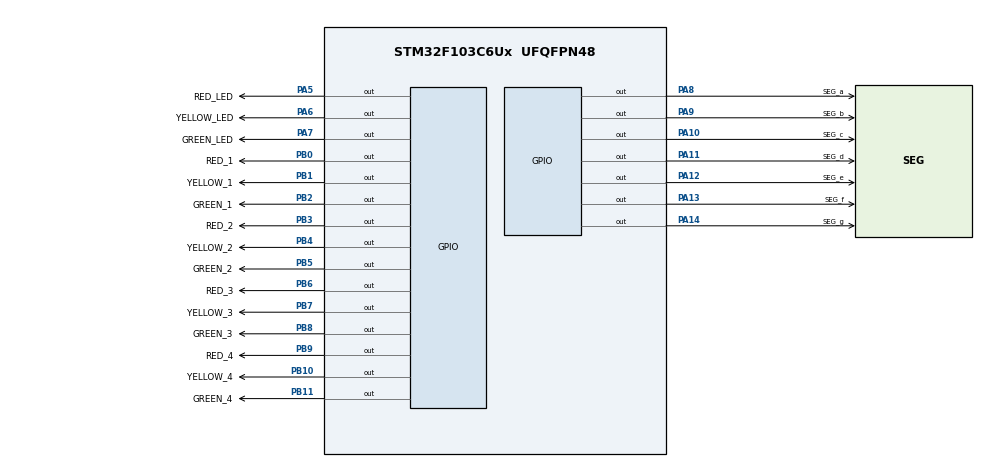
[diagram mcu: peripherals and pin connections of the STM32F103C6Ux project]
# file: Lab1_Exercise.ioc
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Mcu.Family=STM32F1
Mcu.Name=STM32F103C6Ux
Mcu.Package=UFQFPN48
NVIC.PriorityGroup=NVIC_PRIORITYGROUP_4
PA10.GPIO_Label=SEG_c
PA10.Signal=GPIO_Output
PA11.GPIO_Label=SEG_d
PA11.Signal=GPIO_Output
PA12.GPIO_Label=SEG_e
PA12.Signal=GPIO_Output
PA13.GPIO_Label=SEG_f
PA13.Signal=GPIO_Output
PA14.GPIO_Label=SEG_g
PA14.Signal=GPIO_Output
PA5.GPIO_Label=RED_LED
PA5.Signal=GPIO_Output
PA6.GPIO_Label=YELLOW_LED
PA6.Signal=GPIO_Output
PA7.GPIO_Label=GREEN_LED
PA7.Signal=GPIO_Output
PA8.GPIO_Label=SEG_a
PA8.Signal=GPIO_Output
PA9.GPIO_Label=SEG_b
PA9.Signal=GPIO_Output
PB0.GPIO_Label=RED_1
PB0.Signal=GPIO_Output
PB1.GPIO_Label=YELLOW_1
PB1.Signal=GPIO_Output
PB10.GPIO_Label=YELLOW_4
PB10.Signal=GPIO_Output
PB11.GPIO_Label=GREEN_4
PB11.Signal=GPIO_Output
PB2.GPIO_Label=GREEN_1
PB2.Signal=GPIO_Output
PB3.GPIO_Label=RED_2
PB3.Signal=GPIO_Output
PB4.GPIO_Label=YELLOW_2
PB4.Signal=GPIO_Output
PB5.GPIO_Label=GREEN_2
PB5.Signal=GPIO_Output
PB6.GPIO_Label=RED_3
PB6.Signal=GPIO_Output
PB7.GPIO_Label=YELLOW_3
PB7.Signal=GPIO_Output
PB8.GPIO_Label=GREEN_3
PB8.Signal=GPIO_Output
PB9.GPIO_Label=RED_4
PB9.Signal=GPIO_Output
ProjectManager.HeapSize=0x200
ProjectManager.StackSize=0x400
ProjectManager.TargetToolchain=STM32CubeIDE
RCC.APB1Freq_Value=8000000
RCC.APB2Freq_Value=8000000
VP_SYS_VS_ND.Mode=No_Debug
board=custom

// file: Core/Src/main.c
/* USER CODE BEGIN Header */
/**
  ******************************************************************************
  * @file           : main.c
  * @brief          : Main program body
  ******************************************************************************
  * @attention
  *
  * <h2><center>&copy; Copyright (c) 2024 STMicroelectronics.
  * All rights reserved.</center></h2>
  *
  * This software component is licensed by ST under BSD 3-Clause license,
  * the "License"; You may not use this file except in compliance with the
  * License. You may obtain a copy of the License at:
  *                        opensource.org/licenses/BSD-3-Clause
  *
  ******************************************************************************
  */
/* USER CODE END Header */
#include "main.h"

void SystemClock_Config(void);
static void MX_GPIO_Init(void);

int main(void)
{
  /* USER CODE BEGIN 1 */
	/*
	void display7SEG(int num) {
		switch (num) {
		case 0:
			HAL_GPIO_WritePin(SEG_a_GPIO_Port, SEG_a_Pin, GPIO_PIN_RESET);
			HAL_GPIO_WritePin(SEG_b_GPIO_Port, SEG_b_Pin, GPIO_PIN_RESET);
			HAL_GPIO_WritePin(SEG_c_GPIO_Port, SEG_c_Pin, GPIO_PIN_RESET);
			HAL_GPIO_WritePin(SEG_d_GPIO_Port, SEG_d_Pin, GPIO_PIN_RESET);
			HAL_GPIO_WritePin(SEG_e_GPIO_Port, SEG_e_Pin, GPIO_PIN_RESET);
			HAL_GPIO_WritePin(SEG_f_GPIO_Port, SEG_f_Pin, GPIO_PIN_RESET);
			HAL_GPIO_WritePin(SEG_g_GPIO_Port, SEG_g_Pin, GPIO_PIN_SET);

			break;
		case 1:
			HAL_GPIO_WritePin(SEG_a_GPIO_Port, SEG_a_Pin, GPIO_PIN_SET);
			HAL_GPIO_WritePin(SEG_b_GPIO_Port, SEG_b_Pin, GPIO_PIN_RESET);
			HAL_GPIO_WritePin(SEG_c_GPIO_Port, SEG_c_Pin, GPIO_PIN_RESET);
			HAL_GPIO_WritePin(SEG_d_GPIO_Port, SEG_d_Pin, GPIO_PIN_SET);
			HAL_GPIO_WritePin(SEG_e_GPIO_Port, SEG_e_Pin, GPIO_PIN_SET);
			HAL_GPIO_WritePin(SEG_f_GPIO_Port, SEG_f_Pin, GPIO_PIN_SET);
			HAL_GPIO_WritePin(SEG_g_GPIO_Port, SEG_g_Pin, GPIO_PIN_SET);

			break;
		case 2:
			HAL_GPIO_WritePin(SEG_a_GPIO_Port, SEG_a_Pin, GPIO_PIN_RESET);
			HAL_GPIO_WritePin(SEG_b_GPIO_Port, SEG_b_Pin, GPIO_PIN_RESET);
			HAL_GPIO_WritePin(SEG_c_GPIO_Port, SEG_c_Pin, GPIO_PIN_SET);
			HAL_GPIO_WritePin(SEG_d_GPIO_Port, SEG_d_Pin, GPIO_PIN_RESET);
			HAL_GPIO_WritePin(SEG_e_GPIO_Port, SEG_e_Pin, GPIO_PIN_RESET);
			HAL_GPIO_WritePin(SEG_f_GPIO_Port, SEG_f_Pin, GPIO_PIN_SET);
			HAL_GPIO_WritePin(SEG_g_GPIO_Port, SEG_g_Pin, GPIO_PIN_RESET);

			break;
		case 3:
			HAL_GPIO_WritePin(SEG_a_GPIO_Port, SEG_a_Pin, GPIO_PIN_RESET);
			HAL_GPIO_WritePin(SEG_b_GPIO_Port, SEG_b_Pin, GPIO_PIN_RESET);
			HAL_GPIO_WritePin(SEG_c_GPIO_Port, SEG_c_Pin, GPIO_PIN_RESET);
			HAL_GPIO_WritePin(SEG_d_GPIO_Port, SEG_d_Pin, GPIO_PIN_RESET);
			HAL_GPIO_WritePin(SEG_e_GPIO_Port, SEG_e_Pin, GPIO_PIN_SET);
			HAL_GPIO_WritePin(SEG_f_GPIO_Port, SEG_f_Pin, GPIO_PIN_SET);
			HAL_GPIO_WritePin(SEG_g_GPIO_Port, SEG_g_Pin, GPIO_PIN_RESET);

			break;
		case 4:
			HAL_GPIO_WritePin(SEG_a_GPIO_Port, SEG_a_Pin, GPIO_PIN_SET);
			HAL_GPIO_WritePin(SEG_b_GPIO_Port, SEG_b_Pin, GPIO_PIN_RESET);
			HAL_GPIO_WritePin(SEG_c_GPIO_Port, SEG_c_Pin, GPIO_PIN_RESET);
			HAL_GPIO_WritePin(SEG_d_GPIO_Port, SEG_d_Pin, GPIO_PIN_SET);
			HAL_GPIO_WritePin(SEG_e_GPIO_Port, SEG_e_Pin, GPIO_PIN_SET);
			HAL_GPIO_WritePin(SEG_f_GPIO_Port, SEG_f_Pin, GPIO_PIN_RESET);
			HAL_GPIO_WritePin(SEG_g_GPIO_Port, SEG_g_Pin, GPIO_PIN_RESET);

			break;
		case 5:
			HAL_GPIO_WritePin(SEG_a_GPIO_Port, SEG_a_Pin, GPIO_PIN_RESET);
			HAL_GPIO_WritePin(SEG_b_GPIO_Port, SEG_b_Pin, GPIO_PIN_SET);
			HAL_GPIO_WritePin(SEG_c_GPIO_Port, SEG_c_Pin, GPIO_PIN_RESET);
			HAL_GPIO_WritePin(SEG_d_GPIO_Port, SEG_d_Pin, GPIO_PIN_RESET);
			HAL_GPIO_WritePin(SEG_e_GPIO_Port, SEG_e_Pin, GPIO_PIN_SET);
			HAL_GPIO_WritePin(SEG_f_GPIO_Port, SEG_f_Pin, GPIO_PIN_RESET);
			HAL_GPIO_WritePin(SEG_g_GPIO_Port, SEG_g_Pin, GPIO_PIN_RESET);

			break;
		case 6:
			HAL_GPIO_WritePin(SEG_a_GPIO_Port, SEG_a_Pin, GPIO_PIN_RESET);
			HAL_GPIO_WritePin(SEG_b_GPIO_Port, SEG_b_Pin, GPIO_PIN_SET);
			HAL_GPIO_WritePin(SEG_c_GPIO_Port, SEG_c_Pin, GPIO_PIN_RESET);
			HAL_GPIO_WritePin(SEG_d_GPIO_Port, SEG_d_Pin, GPIO_PIN_RESET);
			HAL_GPIO_WritePin(SEG_e_GPIO_Port, SEG_e_Pin, GPIO_PIN_RESET);
			HAL_GPIO_WritePin(SEG_f_GPIO_Port, SEG_f_Pin, GPIO_PIN_RESET);
			HAL_GPIO_WritePin(SEG_g_GPIO_Port, SEG_g_Pin, GPIO_PIN_RESET);

			break;

		case 7:
			HAL_GPIO_WritePin(SEG_a_GPIO_Port, SEG_a_Pin, GPIO_PIN_RESET);
			HAL_GPIO_WritePin(SEG_b_GPIO_Port, SEG_b_Pin, GPIO_PIN_RESET);
			HAL_GPIO_WritePin(SEG_c_GPIO_Port, SEG_c_Pin, GPIO_PIN_RESET);
			HAL_GPIO_WritePin(SEG_d_GPIO_Port, SEG_d_Pin, GPIO_PIN_SET);
			HAL_GPIO_WritePin(SEG_e_GPIO_Port, SEG_e_Pin, GPIO_PIN_SET);
			HAL_GPIO_WritePin(SEG_f_GPIO_Port, SEG_f_Pin, GPIO_PIN_SET);
			HAL_GPIO_WritePin(SEG_g_GPIO_Port, SEG_g_Pin, GPIO_PIN_SET);

			break;
		case 8:
			HAL_GPIO_WritePin(SEG_a_GPIO_Port, SEG_a_Pin, GPIO_PIN_RESET);
			HAL_GPIO_WritePin(SEG_b_GPIO_Port, SEG_b_Pin, GPIO_PIN_RESET);
			HAL_GPIO_WritePin(SEG_c_GPIO_Port, SEG_c_Pin, GPIO_PIN_RESET);
			HAL_GPIO_WritePin(SEG_d_GPIO_Port, SEG_d_Pin, GPIO_PIN_RESET);
			HAL_GPIO_WritePin(SEG_e_GPIO_Port, SEG_e_Pin, GPIO_PIN_RESET);
			HAL_GPIO_WritePin(SEG_f_GPIO_Port, SEG_f_Pin, GPIO_PIN_RESET);
			HAL_GPIO_WritePin(SEG_g_GPIO_Port, SEG_g_Pin, GPIO_PIN_RESET);

			break;
		case 9:
			HAL_GPIO_WritePin(SEG_a_GPIO_Port, SEG_a_Pin, GPIO_PIN_RESET);
			HAL_GPIO_WritePin(SEG_b_GPIO_Port, SEG_b_Pin, GPIO_PIN_RESET);
			HAL_GPIO_WritePin(SEG_c_GPIO_Port, SEG_c_Pin, GPIO_PIN_RESET);
			HAL_GPIO_WritePin(SEG_d_GPIO_Port, SEG_d_Pin, GPIO_PIN_RESET);
			HAL_GPIO_WritePin(SEG_e_GPIO_Port, SEG_e_Pin, GPIO_PIN_SET);
			HAL_GPIO_WritePin(SEG_f_GPIO_Port, SEG_f_Pin, GPIO_PIN_RESET);
			HAL_GPIO_WritePin(SEG_g_GPIO_Port, SEG_g_Pin, GPIO_PIN_RESET);

			break;
		}
	} */

void clearAllClock() {
	HAL_GPIO_WritePin(GPIOB, GPIO_PIN_All, GPIO_PIN_RESET);
}
/*
void setNumberOnClock(int num) {
	if (num >= 0 && num <= 11) HAL_GPIO_WritePin(GPIOB, GPIO_PIN_0 << num, GPIO_PIN_SET);
	else return;
}

void clearNumberOnClock(int num) {
	if (num >= 0 && num <= 11) HAL_GPIO_WritePin(GPIOB, GPIO_PIN_0 << num, GPIO_PIN_RESET);
	else return;
}
*/
void displayClock(int hour, int minute, int second) {
	clearAllClock();

	HAL_GPIO_WritePin(GPIOB, (1 << (hour % 12)), GPIO_PIN_SET);
	HAL_GPIO_WritePin(GPIOB, (1 << (minute % 12)), GPIO_PIN_SET);
	HAL_GPIO_WritePin(GPIOB, (1 << (second % 12)), GPIO_PIN_SET);
}

void runClock() {
	int hour = 0;
	int min = 0;
	int sec = 0;

	while (1) {
		displayClock(hour, min, sec);
		HAL_Delay(50);
		sec++;

		if (sec >= 60) {
			sec = 0;
			min++;

			if (min >= 60) {
				min = 0;
				hour++;

				if (hour >= 12) {
					hour = 0;
				}
			}
		}
	}
}

  /* USER CODE END 1 */

  /* MCU Configuration--------------------------------------------------------*/

  /* Reset of all peripherals, Initializes the Flash interface and the Systick. */
  HAL_Init();

  /* Configure the system clock */
  SystemClock_Config();

  /* Initialize all configured peripherals */
  MX_GPIO_Init();

  /* Infinite loop */
  /* USER CODE BEGIN WHILE */
//unsigned int counter = 0;

  while (1)
  {
	  HAL_GPIO_WritePin(GPIOA, GPIO_PIN_All, GPIO_PIN_SET);
	  runClock();

	  /*
	  static uint8_t ledState = 0;
	  static int countdown = 0;

	  switch (ledState) {
	  case 0:
		  // Turn on Red_1 and Red_3 (5s), Green_2 and Green_4 (3s), Turn off rest => 3s
		  		  HAL_GPIO_WritePin(RED_1_GPIO_Port, RED_1_Pin, GPIO_PIN_SET);
		  		  HAL_GPIO_WritePin(RED_2_GPIO_Port, RED_2_Pin, GPIO_PIN_RESET);
		  		  HAL_GPIO_WritePin(RED_3_GPIO_Port, RED_3_Pin, GPIO_PIN_SET);
		  		  HAL_GPIO_WritePin(RED_4_GPIO_Port, RED_4_Pin, GPIO_PIN_RESET);

		  		  HAL_GPIO_WritePin(GREEN_1_GPIO_Port, GREEN_1_Pin, GPIO_PIN_RESET);
		  		  HAL_GPIO_WritePin(GREEN_2_GPIO_Port, GREEN_2_Pin, GPIO_PIN_SET);
		  		  HAL_GPIO_WritePin(GREEN_3_GPIO_Port, GREEN_3_Pin, GPIO_PIN_RESET);
		  		  HAL_GPIO_WritePin(GREEN_4_GPIO_Port, GREEN_4_Pin, GPIO_PIN_SET);

		  		  HAL_GPIO_WritePin(YELLOW_1_GPIO_Port, YELLOW_1_Pin, GPIO_PIN_RESET);
		  		  HAL_GPIO_WritePin(YELLOW_2_GPIO_Port, YELLOW_2_Pin, GPIO_PIN_RESET);
		  		  HAL_GPIO_WritePin(YELLOW_3_GPIO_Port, YELLOW_3_Pin, GPIO_PIN_RESET);
		  		  HAL_GPIO_WritePin(YELLOW_4_GPIO_Port, YELLOW_4_Pin, GPIO_PIN_RESET);

		  		  countdown = 5;
		  		  while (countdown > 2) {
		  			  display7SEG(countdown);
		  			  HAL_Delay(1000);
		  			  countdown--;
		  		  }

		  		  ledState = 1;

		  		  break;
		  	  case 1:
		  		  // Turn on Red_1 and Red_3 (5s), Yellow_2 and Yellow_4 (2s), Turn off rest => 2s
		  		  HAL_GPIO_WritePin(RED_1_GPIO_Port, RED_1_Pin, GPIO_PIN_SET);
		  		  HAL_GPIO_WritePin(RED_2_GPIO_Port, RED_2_Pin, GPIO_PIN_RESET);
		  		  HAL_GPIO_WritePin(RED_3_GPIO_Port, RED_3_Pin, GPIO_PIN_SET);
		  		  HAL_GPIO_WritePin(RED_4_GPIO_Port, RED_4_Pin, GPIO_PIN_RESET);

		  		  HAL_GPIO_WritePin(GREEN_1_GPIO_Port, GREEN_1_Pin, GPIO_PIN_RESET);
		  		  HAL_GPIO_WritePin(GREEN_2_GPIO_Port, GREEN_2_Pin, GPIO_PIN_RESET);
		  		  HAL_GPIO_WritePin(GREEN_3_GPIO_Port, GREEN_3_Pin, GPIO_PIN_RESET);
		  		  HAL_GPIO_WritePin(GREEN_4_GPIO_Port, GREEN_4_Pin, GPIO_PIN_RESET);

		  		  HAL_GPIO_WritePin(YELLOW_1_GPIO_Port, YELLOW_1_Pin, GPIO_PIN_RESET);
		  		  HAL_GPIO_WritePin(YELLOW_2_GPIO_Port, YELLOW_2_Pin, GPIO_PIN_SET);
		  		  HAL_GPIO_WritePin(YELLOW_3_GPIO_Port, YELLOW_3_Pin, GPIO_PIN_RESET);
		  		  HAL_GPIO_WritePin(YELLOW_4_GPIO_Port, YELLOW_4_Pin, GPIO_PIN_SET);

		  		  countdown = 2;
		  		  while (countdown > 0) {
		  			  display7SEG(countdown);
		  			  HAL_Delay(1000);
		  			  countdown--;
		  		  }

		  		  ledState = 2;

		  		  break;
		  	  case 2:
		  		  // Turn on Green_1 and Green_3 (3s), Red_2 and Red_4 (5), Turn off rest => 3s
		  		  HAL_GPIO_WritePin(RED_1_GPIO_Port, RED_1_Pin, GPIO_PIN_RESET);
		  		  HAL_GPIO_WritePin(RED_2_GPIO_Port, RED_2_Pin, GPIO_PIN_SET);
		  		  HAL_GPIO_WritePin(RED_3_GPIO_Port, RED_3_Pin, GPIO_PIN_RESET);
		  		  HAL_GPIO_WritePin(RED_4_GPIO_Port, RED_4_Pin, GPIO_PIN_SET);

		  		  HAL_GPIO_WritePin(GREEN_1_GPIO_Port, GREEN_1_Pin, GPIO_PIN_SET);
		  		  HAL_GPIO_WritePin(GREEN_2_GPIO_Port, GREEN_2_Pin, GPIO_PIN_RESET);
		  		  HAL_GPIO_WritePin(GREEN_3_GPIO_Port, GREEN_3_Pin, GPIO_PIN_SET);
		  		  HAL_GPIO_WritePin(GREEN_4_GPIO_Port, GREEN_4_Pin, GPIO_PIN_RESET);

		  		  HAL_GPIO_WritePin(YELLOW_1_GPIO_Port, YELLOW_1_Pin, GPIO_PIN_RESET);
		  		  HAL_GPIO_WritePin(YELLOW_2_GPIO_Port, YELLOW_2_Pin, GPIO_PIN_RESET);
		  		  HAL_GPIO_WritePin(YELLOW_3_GPIO_Port, YELLOW_3_Pin, GPIO_PIN_RESET);
		  		  HAL_GPIO_WritePin(YELLOW_4_GPIO_Port, YELLOW_4_Pin, GPIO_PIN_RESET);

		  		  countdown = 3;
		  		  while (countdown > 0) {
		  			  display7SEG(countdown);
		  			  HAL_Delay(1000);
		  			  countdown--;
		  		  }
		  		  ledState = 3;

		  		  break;
		  	  case 3:
		  		  // Turn on Yellow_1 and Yellow_3 (2s), Red_2 and Red_4 (5s), Turn off rest => 2s
		  		  HAL_GPIO_WritePin(RED_1_GPIO_Port, RED_1_Pin, GPIO_PIN_RESET);
		  		  HAL_GPIO_WritePin(RED_2_GPIO_Port, RED_2_Pin, GPIO_PIN_SET);
		  		  HAL_GPIO_WritePin(RED_3_GPIO_Port, RED_3_Pin, GPIO_PIN_RESET);
		  		  HAL_GPIO_WritePin(RED_4_GPIO_Port, RED_4_Pin, GPIO_PIN_SET);

		  		  HAL_GPIO_WritePin(GREEN_1_GPIO_Port, GREEN_1_Pin, GPIO_PIN_RESET);
		  		  HAL_GPIO_WritePin(GREEN_2_GPIO_Port, GREEN_2_Pin, GPIO_PIN_RESET);
		  		  HAL_GPIO_WritePin(GREEN_3_GPIO_Port, GREEN_3_Pin, GPIO_PIN_RESET);
		  		  HAL_GPIO_WritePin(GREEN_4_GPIO_Port, GREEN_4_Pin, GPIO_PIN_RESET);

		  		  HAL_GPIO_WritePin(YELLOW_1_GPIO_Port, YELLOW_1_Pin, GPIO_PIN_SET);
		  		  HAL_GPIO_WritePin(YELLOW_2_GPIO_Port, YELLOW_2_Pin, GPIO_PIN_RESET);
		  		  HAL_GPIO_WritePin(YELLOW_3_GPIO_Port, YELLOW_3_Pin, GPIO_PIN_SET);
		  		  HAL_GPIO_WritePin(YELLOW_4_GPIO_Port, YELLOW_4_Pin, GPIO_PIN_RESET);

		  		  countdown = 2;
		  		  while (countdown > 0) {
		  			  display7SEG(countdown);
		  			  HAL_Delay(1000);
		  			  countdown--;
		  		  }
		  		  ledState = 0;

		  		  break;
	  } */

    /* USER CODE END WHILE */

  }
}

void SystemClock_Config(void)
{
  RCC_OscInitTypeDef RCC_OscInitStruct = {0};
  RCC_ClkInitTypeDef RCC_ClkInitStruct = {0};

  /** Initializes the RCC Oscillators according to the specified parameters
  * in the RCC_OscInitTypeDef structure.
  */
  RCC_OscInitStruct.OscillatorType = RCC_OSCILLATORTYPE_HSI;
  RCC_OscInitStruct.HSIState = RCC_HSI_ON;
  RCC_OscInitStruct.HSICalibrationValue = RCC_HSICALIBRATION_DEFAULT;
  RCC_OscInitStruct.PLL.PLLState = RCC_PLL_NONE;
  if (HAL_RCC_OscConfig(&RCC_OscInitStruct) != HAL_OK)
  {
    Error_Handler();
  }
  /** Initializes the CPU, AHB and APB buses clocks
  */
  RCC_ClkInitStruct.ClockType = RCC_CLOCKTYPE_HCLK|RCC_CLOCKTYPE_SYSCLK
                              |RCC_CLOCKTYPE_PCLK1|RCC_CLOCKTYPE_PCLK2;
  RCC_ClkInitStruct.SYSCLKSource = RCC_SYSCLKSOURCE_HSI;
  RCC_ClkInitStruct.AHBCLKDivider = RCC_SYSCLK_DIV1;
  RCC_ClkInitStruct.APB1CLKDivider = RCC_HCLK_DIV1;
  RCC_ClkInitStruct.APB2CLKDivider = RCC_HCLK_DIV1;

  if (HAL_RCC_ClockConfig(&RCC_ClkInitStruct, FLASH_LATENCY_0) != HAL_OK)
  {
    Error_Handler();
  }
}

static void MX_GPIO_Init(void)
{
  GPIO_InitTypeDef GPIO_InitStruct = {0};

  /* GPIO Ports Clock Enable */
  __HAL_RCC_GPIOA_CLK_ENABLE();
  __HAL_RCC_GPIOB_CLK_ENABLE();

  /*Configure GPIO pin Output Level */
  HAL_GPIO_WritePin(GPIOA, RED_LED_Pin|YELLOW_LED_Pin|GREEN_LED_Pin|SEG_a_Pin
                          |SEG_b_Pin|SEG_c_Pin|SEG_d_Pin|SEG_e_Pin
                          |SEG_f_Pin|SEG_g_Pin, GPIO_PIN_RESET);

  /*Configure GPIO pin Output Level */
  HAL_GPIO_WritePin(GPIOB, RED_1_Pin|YELLOW_1_Pin|GREEN_1_Pin|YELLOW_4_Pin
                          |GREEN_4_Pin|RED_2_Pin|YELLOW_2_Pin|GREEN_2_Pin
                          |RED_3_Pin|YELLOW_3_Pin|GREEN_3_Pin|RED_4_Pin, GPIO_PIN_RESET);

  /*Configure GPIO pins : RED_LED_Pin YELLOW_LED_Pin GREEN_LED_Pin SEG_a_Pin
                           SEG_b_Pin SEG_c_Pin SEG_d_Pin SEG_e_Pin
                           SEG_f_Pin SEG_g_Pin */
  GPIO_InitStruct.Pin = RED_LED_Pin|YELLOW_LED_Pin|GREEN_LED_Pin|SEG_a_Pin
                          |SEG_b_Pin|SEG_c_Pin|SEG_d_Pin|SEG_e_Pin
                          |SEG_f_Pin|SEG_g_Pin;
  GPIO_InitStruct.Mode = GPIO_MODE_OUTPUT_PP;
  GPIO_InitStruct.Pull = GPIO_NOPULL;
  GPIO_InitStruct.Speed = GPIO_SPEED_FREQ_LOW;
  HAL_GPIO_Init(GPIOA, &GPIO_InitStruct);

  /*Configure GPIO pins : RED_1_Pin YELLOW_1_Pin GREEN_1_Pin YELLOW_4_Pin
                           GREEN_4_Pin RED_2_Pin YELLOW_2_Pin GREEN_2_Pin
                           RED_3_Pin YELLOW_3_Pin GREEN_3_Pin RED_4_Pin */
  GPIO_InitStruct.Pin = RED_1_Pin|YELLOW_1_Pin|GREEN_1_Pin|YELLOW_4_Pin
                          |GREEN_4_Pin|RED_2_Pin|YELLOW_2_Pin|GREEN_2_Pin
                          |RED_3_Pin|YELLOW_3_Pin|GREEN_3_Pin|RED_4_Pin;
  GPIO_InitStruct.Mode = GPIO_MODE_OUTPUT_PP;
  GPIO_InitStruct.Pull = GPIO_NOPULL;
  GPIO_InitStruct.Speed = GPIO_SPEED_FREQ_LOW;
  HAL_GPIO_Init(GPIOB, &GPIO_InitStruct);

}

void Error_Handler(void)
{
  __disable_irq();
  while (1)
  {
  }
}

/************************ (C) COPYRIGHT STMicroelectronics *****END OF FILE****/
